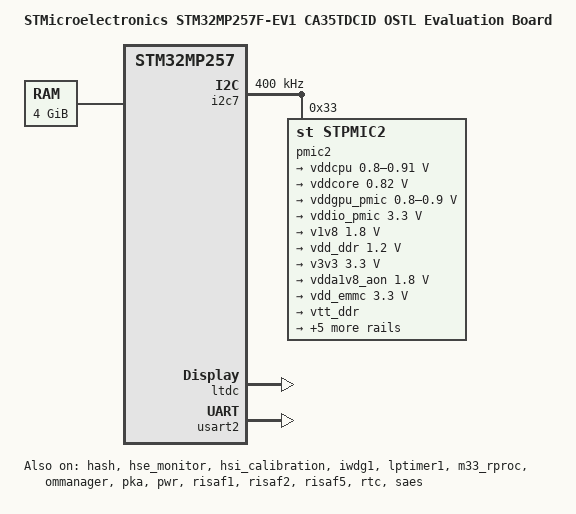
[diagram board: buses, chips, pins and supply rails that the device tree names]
// SPDX-License-Identifier: (GPL-2.0-only OR BSD-3-Clause)
/*
 * Copyright (C) STMicroelectronics 2021 - All Rights Reserved
 * Author: Alexandre Torgue <alexandre.torgue@foss.st.com> for STMicroelectronics.
 */

/dts-v1/;

#include <dt-bindings/clock/stm32mp25-clksrc.h>
#include <dt-bindings/mfd/st,stpmic2.h>
#include <dt-bindings/regulator/st,stm32mp25-regulator.h>
#include <dt-bindings/reset/stm32mp25-resets.h>
#include <dt-bindings/soc/stm32mp-provisioning.h>
#include <dt-bindings/soc/stm32mp25-rif.h>
#include <dt-bindings/soc/stm32mp25-risab.h>
#include <dt-bindings/soc/stm32mp25-risaf.h>
#include <dt-bindings/soc/stm32mp25-rifsc.h>
#include <dt-bindings/tamper/st,stm32mp25-tamp.h>
#include "stm32mp257.dtsi"
#include "stm32mp25xf.dtsi"
#include "stm32mp257f-ev1-ca35tdcid-ostl-rcc.dtsi"
#include "stm32mp257f-ev1-ca35tdcid-ostl-resmem.dtsi"
#include "stm32mp257f-ev1-ca35tdcid-ostl-rif.dtsi"
#include "stm32mp25-pinctrl.dtsi"
#include "stm32mp25xxai-pinctrl.dtsi"

/ {
	model = "STMicroelectronics STM32MP257F-EV1 CA35TDCID OSTL Evaluation Board";
	compatible = "st,stm32mp257f-ev1-ca35tdcid-ostl", "st,stm32mp257f-ev1", "st,stm32mp257";

	aliases {
		serial0 = &usart2;
	};

	chosen {
		stdout-path = "serial0:115200n8";
	};

	memory@80000000 {
		device_type = "memory";
		reg = <0x0 0x80000000 0x1 0x00000000>;
	};

	shadow-prov {
		compatible = "st,provisioning";
		hconf1_prov {
			nvmem-cells = <&hconf1_otp>;
			st,shadow-value = <0x00018DB6>;
		};
	};
};

&cpu0 {
	cpu-supply = <&vddcpu>;
};

&hash {
	status = "okay";
};

&hse_monitor {
	status = "okay";
};

&hsi_calibration {
	status = "okay";
};

&i2c7 {
	pinctrl-names = "default", "sleep";
	pinctrl-0 = <&i2c7_pins_a>;
	pinctrl-1 = <&i2c7_sleep_pins_a>;
	i2c-scl-rising-time-ns = <29>;
	i2c-scl-falling-time-ns = <7>;
	clock-frequency = <400000>;
	status = "okay";
	#address-cells = <1>;
	#size-cells = <0>;

	pmic2: stpmic2@33 {
		compatible = "st,stpmic2";
		reg = <0x33>;
		st,wakeup-pin-number = <1>;
		st,pmic-it-id = <IT_PKEY_FA IT_PKEY_RI>;
		st,notif-it-id = <0 1>;
		status = "okay";

		regulators {
			compatible = "st,stpmic2-regulators";

			ldo1-supply = <&vddio_pmic>;

			vddcpu: buck1 {
				regulator-name = "vddcpu";
				regulator-min-microvolt = <800000>;
				regulator-max-microvolt = <910000>;
				regulator-always-on;
				st,pwrctrl-sel = <2>;
				st,pwrctrl-enable;

				default {
					regulator-off-in-suspend;
				};
				lplv {
					regulator-off-in-suspend;
				};
				standby {
					regulator-off-in-suspend;
				};
				off {
					regulator-off-in-suspend;
				};
			};
			vddcore: buck2 {
				regulator-name = "vddcore";
				regulator-min-microvolt = <820000>;
				regulator-max-microvolt = <820000>;
				regulator-always-on;
				st,pwrctrl-sel = <1>;
				st,pwrctrl-enable;

				default {
					regulator-on-in-suspend;
					regulator-suspend-microvolt = <820000>;
				};
				lplv {
					regulator-on-in-suspend;
					regulator-suspend-microvolt = <670000>;
				};
				standby {
					regulator-off-in-suspend;
				};
				off {
					regulator-off-in-suspend;
				};
			};
			vddgpu_pmic: buck3 {
				regulator-name = "vddgpu_pmic";
				regulator-min-microvolt = <800000>;
				regulator-max-microvolt = <900000>;
				regulator-over-current-protection;
			};
			vddio_pmic: buck4 {
				regulator-name = "vddio_pmic";
				regulator-min-microvolt = <3300000>;
				regulator-max-microvolt = <3300000>;
				regulator-always-on;
				st,mask-reset;
				st,pwrctrl-sel = <1>;
				st,pwrctrl-enable;

				default {
					regulator-on-in-suspend;
					regulator-suspend-microvolt = <3300000>;
				};
				lplv {
					regulator-on-in-suspend;
					regulator-suspend-microvolt = <3300000>;
				};
				standby {
					regulator-on-in-suspend;
					regulator-suspend-microvolt = <3300000>;
				};
				off {
					/* ToDo: switch to LP */
					regulator-on-in-suspend;
					regulator-suspend-microvolt = <3300000>;
				};
			};
			v1v8: buck5 {
				regulator-name = "v1v8";
				regulator-min-microvolt = <1800000>;
				regulator-max-microvolt = <1800000>;
				regulator-always-on;
				st,pwrctrl-sel = <1>;
				st,pwrctrl-enable;

				default {
					regulator-on-in-suspend;
					regulator-suspend-microvolt = <1800000>;
				};
				lplv {
					regulator-on-in-suspend;
					regulator-suspend-microvolt = <1800000>;
				};
				standby {
					regulator-off-in-suspend;
				};
				off {
					regulator-off-in-suspend;
				};
			};
			vdd_ddr: buck6 {
				regulator-name = "vdd_ddr";
				regulator-min-microvolt = <1200000>;
				regulator-max-microvolt = <1200000>;
				regulator-always-on;
				regulator-pull-down;
				st,pwrctrl-sel = <1>;
				st,pwrctrl-enable;

				default {
					regulator-on-in-suspend;
					regulator-suspend-microvolt = <1200000>;
				};
				lplv {
					regulator-on-in-suspend;
					regulator-suspend-microvolt = <1200000>;
				};
				standby {
					regulator-on-in-suspend;
					regulator-suspend-microvolt = <1200000>;
				};
				off {
					regulator-off-in-suspend;
				};
			};
			v3v3: buck7 {
				regulator-name = "v3v3";
				regulator-min-microvolt = <3300000>;
				regulator-max-microvolt = <3300000>;
				regulator-always-on;
				regulator-over-current-protection;
				st,pwrctrl-sel = <1>;
				st,pwrctrl-enable;

				default {
					regulator-on-in-suspend;
					regulator-suspend-microvolt = <3300000>;
				};
				lplv {
					regulator-on-in-suspend;
					regulator-suspend-microvolt = <3300000>;
				};
				standby {
					regulator-off-in-suspend;
				};
				off {
					regulator-off-in-suspend;
				};
			};
			vdda1v8_aon: ldo1 {
				regulator-name = "vdda1v8_aon";
				regulator-min-microvolt = <1800000>;
				regulator-max-microvolt = <1800000>;
				regulator-always-on;
				st,alternate-input-source;
				st,mask-reset;
			};
			vdd_emmc: ldo2 {
				regulator-name = "vdd_emmc";
				regulator-min-microvolt = <3300000>;
				regulator-max-microvolt = <3300000>;
				regulator-over-current-protection;
				st,pwrctrl-sel = <3>;
				st,pwrctrl-reset;
			};
			vtt_ddr: ldo3 {
				regulator-name = "vtt_ddr";
				regulator-always-on;
				st,pwrctrl-sel = <1>;
				st,pwrctrl-enable;

				default {
					regulator-off-in-suspend;
				};
				lplv {
					regulator-off-in-suspend;
				};
				standby {
					regulator-off-in-suspend;
				};
				off {
					regulator-off-in-suspend;
				};
			};
			vdd3v3_usb: ldo4 {
				regulator-name = "vdd3v3_usb";
				regulator-min-microvolt = <3300000>;
				regulator-max-microvolt = <3300000>;
				regulator-always-on;
				regulator-over-current-protection;
			};
			vpp_ddr: ldo5 {
				regulator-name = "vpp_ddr";
				regulator-min-microvolt = <2500000>;
				regulator-max-microvolt = <2500000>;
				regulator-always-on;
				st,pwrctrl-sel = <1>;
				st,pwrctrl-enable;

				default {
					regulator-on-in-suspend;
					regulator-suspend-microvolt = <2500000>;
				};
				lplv {
					regulator-on-in-suspend;
					regulator-suspend-microvolt = <2500000>;
				};
				standby {
					regulator-on-in-suspend;
					regulator-suspend-microvolt = <2500000>;
				};
				off {
					regulator-off-in-suspend;
				};
			};
			vdd_sdcard: ldo7 {
				regulator-name = "vdd_sdcard";
				regulator-min-microvolt = <3300000>;
				regulator-max-microvolt = <3300000>;
				regulator-over-current-protection;
				st,regulator-bypass-microvolt = <3300000>;
				st,pwrctrl-sel = <3>;
				st,pwrctrl-reset;
			};
			vddio_sdcard: ldo8 {
				regulator-name = "vddio_sdcard";
				regulator-min-microvolt = <1800000>;
				regulator-max-microvolt = <3300000>;
				regulator-over-current-protection;
				st,regulator-bypass-microvolt = <3300000>;

				st,pwrctrl-sel = <3>;
				st,pwrctrl-reset;
			};
			vref_ddr: refddr {
				regulator-name = "vref_ddr";
				regulator-always-on;
				st,pwrctrl-sel = <1>;
				st,pwrctrl-enable;

				default {
					regulator-on-in-suspend;
				};
				lplv {
					regulator-on-in-suspend;
				};
				standby {
					regulator-on-in-suspend;
				};
				off {
					regulator-off-in-suspend;
				};
			};
		};
	};
};

&iwdg1 {
	timeout-sec = <32>;
	status = "okay";
};

&lptimer1 {
	status = "okay";

	counter {
		status = "okay";
	};
};

&ltdc {
	status = "okay";
};

&m33_rproc {
	compatible = "st,stm32mp2-m33-tee";
	memory-region = <&cm33_cube_fw>, <&cm33_cube_data>,
			<&ipc_shmem>, <&tfm_code>, <&tfm_data>,
			<&cm33_sram2>;
	status = "okay";
};

&ommanager {
	memory-region = <&mm_ospi2>;
	memory-region-names = "mm_ospi2";
	pinctrl-names = "default", "sleep";
	pinctrl-0 = <&ospi_port1_clk_pins_a
		     &ospi_port1_io03_pins_a
		     &ospi_port1_cs0_pins_a>;
	pinctrl-1 = <&ospi_port1_clk_sleep_pins_a
		     &ospi_port1_io03_sleep_pins_a
		     &ospi_port1_cs0_sleep_pins_a>;
	status = "okay";
};

&pka {
	status = "okay";
};

&pwr {
	pinctrl-names = "default";
	pinctrl-0 = <&wakeup_pins>;
	status = "okay";

	vdd33ucpd: vdd33ucpd {
		status = "okay";
		regulator-min-microvolt = <3300000>;
		regulator-max-microvolt = <3300000>;
		vdd33ucpd-supply = <&vdd3v3_usb>;
		regulator-always-on;
	};

	vdda18adc: vdda18adc {
		status = "okay";
		regulator-min-microvolt = <1800000>;
		regulator-max-microvolt = <1800000>;
		vdda18adc-supply = <&v1v8>;
		regulator-always-on;
	};

	vddgpu: vddgpu {
		status = "okay";
		vddgpu-supply = <&vddgpu_pmic>;
	};

	vddio1: vddio1 {
		status = "okay";
		regulator-min-microvolt = <1800000>;
		regulator-max-microvolt = <3300000>;
		vddio1-supply = <&vddio_sdcard>;
	};

	vddio2: vddio2 {
		status = "okay";
		vddio2-supply = <&v1v8>;
		regulator-always-on;
	};

	vddio3: vddio3 {
		status = "okay";
		vddio3-supply = <&vddio_pmic>;
		regulator-always-on;
	};

	vddio4: vddio4 {
		status = "okay";
		vddio4-supply = <&vddio_pmic>;
		regulator-always-on;
	};

	vddio: vddio {
		status = "okay";
		vdd-supply = <&vddio_pmic>;
	};
};

&rcc {
	st,c1msrd = <2>;
	st,clk_opp {
		st,ck_cpu1 {
			cfg_1 {
				hz = <1500000000>;
				st,clksrc = <0>;
				st,pll = <&pll1_cfg_1500Mhz>;
			};

			cfg_2 {
				hz = <1200000000>;
				st,clksrc = <0>;
				st,pll = <&pll1_cfg_1200Mhz>;
			};
		};
	};
};

&risaf1 {
	status = "okay";
};

&risaf2 {
	status = "okay";
};

&risaf5 {
	status = "okay";
};

&rtc {
	status = "okay";
};

&saes {
	status = "okay";
};

&scmi_regu {
	scmi_vddcore: voltd-vddcore {
		reg = <VOLTD_SCMI_STPMIC2_BUCK2>;
		voltd-supply = <&vddcore>;
	};
	scmi_v1v8: voltd-v1v8 {
		reg = <VOLTD_SCMI_STPMIC2_BUCK5>;
		voltd-supply = <&v1v8>;
	};
	scmi_v3v3: voltd-v3v3 {
		reg = <VOLTD_SCMI_STPMIC2_BUCK7>;
		voltd-supply = <&v3v3>;
	};
	scmi_vdd_emmc: voltd-vdd-emmc {
		reg = <VOLTD_SCMI_STPMIC2_LDO2>;
		voltd-supply = <&vdd_emmc>;
	};
	scmi_vdd3v3_usb: voltd-vdd3v3-usb {
		reg = <VOLTD_SCMI_STPMIC2_LDO4>;
		voltd-supply = <&vdd3v3_usb>;
	};
	scmi_vdd_sdcard: voltd-vdd_sdcard {
		reg = <VOLTD_SCMI_STPMIC2_LDO7>;
		voltd-supply = <&vdd_sdcard>;
	};
};

&tamp {
	wakeup-source;
	wakeup-parent = <&exti2>;
	st,tamp-passive-precharge = <2>;
	st,tamp-passive-nb-sample = <4>;
	st,tamp-passive-sample-clk-div = <16384>;

	/* Tamper button */
	tamp_button: tamp-passive@1 {
		status = "disabled";
		reg = <EXT_TAMPER_1 0>;
		pinctrl-0 = <&tamp_in1_pin_a>;
		st,tamp-mode = <TAMPER_POTENTIAL_MODE>;
	};
};

&usart2 {
	pinctrl-names = "default";
	pinctrl-0 = <&usart2_pins_a>;
	status = "okay";
};
